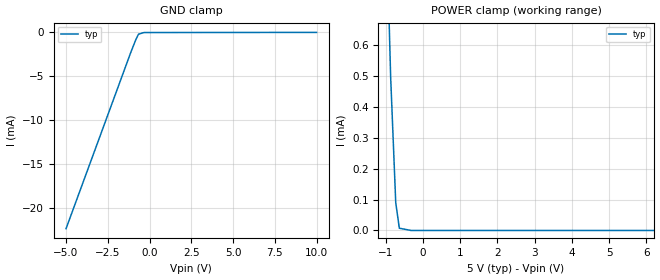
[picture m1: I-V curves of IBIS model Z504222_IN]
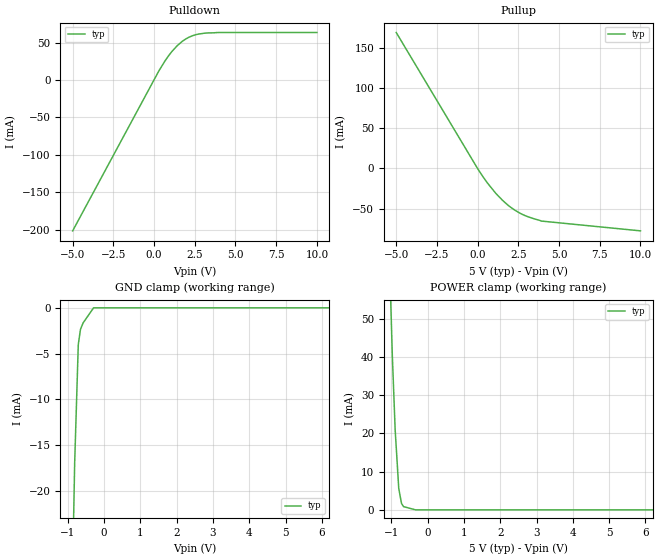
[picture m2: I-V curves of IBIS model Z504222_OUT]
| YOU ARE ONLY AUTHORIZED TO USE THIS SOFTWARE
| ACCORDING TO LICENSOR'S LICENSE RESTRICTIONS.
[IBIS Ver] 3.1
[File Name] mc74hc390d.ibs
[File Rev] 2.0
[Source] Measured and created by ICX Technology
[Date] Friday 7/14/00 9:08:09 AM
[Copyright]
| (C) COPYRIGHT 1993-2000
| MENTOR GRAPHICS CORPORATION
| ICX STANDARD LIBRARY, ICX PROJECT MODELING,
| ICX CUSTOM MODELING, ICX VENDOR MODEL
| ALL RIGHTS RESERVED.
| THE FOLLOWING ARE TRADEMARKS OR SERVICE MARKS OF
| MENTOR GRAPHICS CORPORATION:ICX (R), ICX STANDARD
| LIBRARY(R), ICX PROJECT MODELING(R), ICX CUSTOM
| MODELING(R), qualityIBIS(TM), MODELVIEWER(TM),
| AND MODELEDITOR(TM)
| ALL COPIES OF SOFTWARE, INCLUDING BUT NOT LIMITED TO
| ANY MODIFICATIONS, ENHANCEMENTS OR DERIVATIVE WORKS,
| MUST CONTAIN ALL MENTOR GRAPHICS CORPORATION'S
| NOTICES AND LEGENDS, INCLUDING THOSE EMBEDDED IN
| SOFTWARE AND THOSE AFFIXED TO SOFTWARE MEDIUM
| AND CONTAINER, AS RECEIVED FROM MENTOR GRAPHICS
| CORPORATION.
|  ZAP Model Builder 2.7
[Component] MC74HC390D
[Manufacturer] OnSemiconductor
[Package]
| variable   typ   min   max
R_pkg  .156ohms NA NA
L_pkg  3.148nH NA NA
C_pkg  .388pF NA NA
[Pin] signal_name  model_name  R_pin  L_pin C_pin
1 _CLKA Z504222_IN .162 3.798n .418p
2 CLR Z504222_IN .158 3.358n .398p
3 QA Z504222_OUT .154 2.928n .378p
4 _CLKB Z504222_IN .15 2.508n .358p
5 QB Z504222_OUT .15 2.508n .358p
6 QC Z504222_OUT .154 2.928n .378p
7 QD Z504222_OUT .158 3.358n .398p
8 GROUND GND .162 3.798n .418p
9 QD Z504222_OUT .162 3.798n .418p
10 QC Z504222_OUT .158 3.358n .398p
11 QB Z504222_OUT .154 2.928n .378p
12 _CLKB Z504222_IN .15 2.508n .358p
13 QA Z504222_OUT .15 2.508n .358p
14 CLR Z504222_IN .154 2.928n .378p
15 _CLKA Z504222_IN .158 3.358n .398p
16 VCC POWER .162 3.798n .418p
| Models and submodels in the file (2): Z504222_IN (Input), Z504222_OUT (Output)
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| (C) COPYRIGHT 1993-2000
| MENTOR GRAPHICS CORPORATION
| ICX STANDARD LIBRARY, ICX PROJECT MODELING,
| ICX CUSTOM MODELING, ICX VENDOR MODEL
| ALL RIGHTS RESERVED.
| THE FOLLOWING ARE TRADEMARKS OR SERVICE MARKS OF
| MENTOR GRAPHICS CORPORATION:ICX (R), ICX STANDARD
| LIBRARY(R), ICX PROJECT MODELING(R), ICX CUSTOM
| MODELING(R), qualityIBIS(TM), MODELVIEWER(TM),
| AND MODELEDITOR(TM)
| ALL COPIES OF SOFTWARE, INCLUDING BUT NOT LIMITED TO
| ANY MODIFICATIONS, ENHANCEMENTS OR DERIVATIVE WORKS,
| MUST CONTAIN ALL MENTOR GRAPHICS CORPORATION'S
| NOTICES AND LEGENDS, INCLUDING THOSE EMBEDDED IN
| SOFTWARE AND THOSE AFFIXED TO SOFTWARE MEDIUM
| AND CONTAINER, AS RECEIVED FROM MENTOR GRAPHICS
| CORPORATION.
| Model Application Version 1.89 2/18/99.
[Model] Z504222_IN
Model_type Input
Vinl = 1.000V
Vinh = 3.500V
C_comp 4.000pF NA NA
| variable typ   min   max
[Voltage Range] 5.000V NA NA
[GND Clamp Reference] 0.000V NA NA
[POWER Clamp Reference] 5.000V NA NA
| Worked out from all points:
|   POWER clamp passes 1 mA (typ) near -0.98 V on its own axis
[GND Clamp]
-5V       -22.37mA   NA         NA
-1.127V   -2.298mA   NA         NA
-820.3mV  -819.6uA   NA         NA
-664.2mV  -206.5uA   NA         NA
-332.1mV  -13.1uA    NA         NA
10V       2.821uA    NA         NA
[POWER Clamp]
-5V       22.19mA    NA         NA
-1.513V   3.644mA    NA         NA
-1.059V   1.346mA    NA         NA
-867mV    498.1uA    NA         NA
-730mV    89.89uA    NA         NA
-634mV    7.319uA    NA         NA
-317mV    0A         NA         NA
10V       0A         NA         NA
| (C) COPYRIGHT 1993-2000
| MENTOR GRAPHICS CORPORATION
| ICX STANDARD LIBRARY, ICX PROJECT MODELING,
| ICX CUSTOM MODELING, ICX VENDOR MODEL
| ALL RIGHTS RESERVED.
| THE FOLLOWING ARE TRADEMARKS OR SERVICE MARKS OF
| MENTOR GRAPHICS CORPORATION:ICX (R), ICX STANDARD
| LIBRARY(R), ICX PROJECT MODELING(R), ICX CUSTOM
| MODELING(R), qualityIBIS(TM), MODELVIEWER(TM),
| AND MODELEDITOR(TM)
| ALL COPIES OF SOFTWARE, INCLUDING BUT NOT LIMITED TO
| ANY MODIFICATIONS, ENHANCEMENTS OR DERIVATIVE WORKS,
| MUST CONTAIN ALL MENTOR GRAPHICS CORPORATION'S
| NOTICES AND LEGENDS, INCLUDING THOSE EMBEDDED IN
| SOFTWARE AND THOSE AFFIXED TO SOFTWARE MEDIUM
| AND CONTAINER, AS RECEIVED FROM MENTOR GRAPHICS
| CORPORATION.
| Model Application Version 1.89 2/18/99.
[Model] Z504222_OUT
Model_type Output
Vref=0.000V
Rref=500.0Mohms
Cref=50.00pF
Vmeas=2.500V
C_comp 8.000pF NA NA
| variable typ   min   max
[Voltage Range] 5.000V NA NA
[POWER Clamp Reference] 5.000V NA NA
[Pullup Reference] 5.000V NA NA
[Pulldown Reference] 0.000V NA NA
[GND Clamp Reference] 0.000V NA NA
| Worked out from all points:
|   slope of the pulldown table from 0 to 0.75 V, typ, clamps not added: 27.1 ohm
|   slope of the pullup table from 0 to 0.75 V, typ, clamps not added: 34.7 ohm
|   POWER clamp passes 1 mA (typ) near -0.67 V on its own axis
[GND Clamp]
-5V       -887.7mA   NA         NA
-808.4mV  -16.99mA   NA         NA
-708.6mV  -4.011mA   NA         NA
-648.8mV  -2.357mA   NA         NA
-574.6mV  -1.644mA   NA         NA
-287.3mV  0A         NA         NA
10V       0A         NA         NA
[Pulldown]
-5V       -201.7mA   NA         NA
287.6mV   11.85mA    NA         NA
675.6mV   25.6mA     NA         NA
1.104V    38.26mA    NA         NA
1.419V    45.78mA    NA         NA
1.733V    51.63mA    NA         NA
2.366V    59.15mA    NA         NA
2.748V    61.44mA    NA         NA
3.329V    62.89mA    NA         NA
10V       63.43mA    NA         NA
[Pullup]
-5V       169mA      NA         NA
13mV      -680.8uA   NA         NA
598mV     -18.04mA   NA         NA
1.127V    -31.27mA   NA         NA
1.874V    -45.88mA   NA         NA
2.705V    -56.75mA   NA         NA
3.903V    -65.42mA   NA         NA
10V       -77.61mA   NA         NA
[POWER Clamp]
-5V       1.348A     NA         NA
-972mV    40.7mA     NA         NA
-893mV    20.97mA    NA         NA
-794mV    5.611mA    NA         NA
-719mV    1.71mA     NA         NA
-663mV    845.6uA    NA         NA
-331.5mV  0A         NA         NA
10V       0A         NA         NA
[Ramp]
| variable typ min max
dV/dt_r 2.825/1.399n NA NA
dV/dt_f 2.825/1.208n NA NA
R_load = 500.0Ohms
